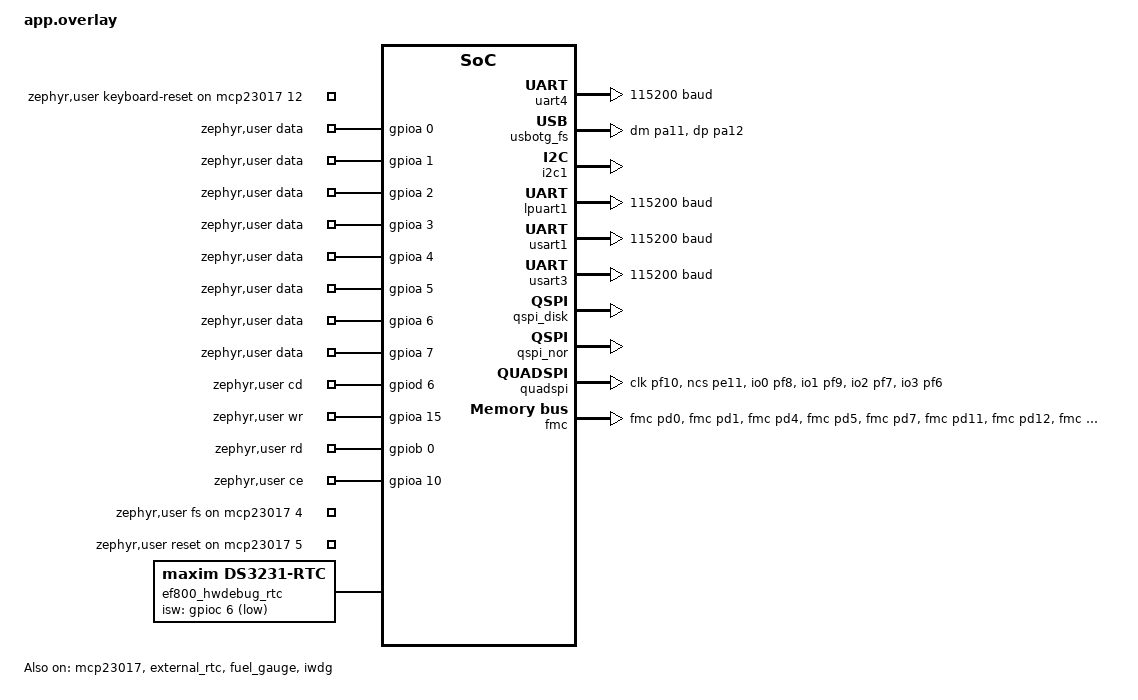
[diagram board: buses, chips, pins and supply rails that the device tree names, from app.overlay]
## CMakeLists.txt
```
# SPDX-License-Identifier: Apache-2.0
cmake_minimum_required(VERSION 3.20.0)

set(BOARD_ROOT ${CMAKE_CURRENT_LIST_DIR}/../..)
find_package(Zephyr REQUIRED HINTS $ENV{ZEPHYR_BASE})
project(ef800_hwdebug)

target_sources(app PRIVATE
	src/main.c
	src/test_result.c
	src/flash.c
	src/mcp23017.c
	src/rtc.c
	src/fuel_gauge.c
	src/peripheral_tests.c
	src/keyboard_update.c
	src/keyboard_i2c_debug.c
	src/sram_test.c
	src/sram_power.c
	${CMAKE_CURRENT_LIST_DIR}/../../shared/ef800_drivers/ef800_mcp23017.c
	${CMAKE_CURRENT_LIST_DIR}/../../shared/ef800_drivers/ef800_max17043.c
	${CMAKE_CURRENT_LIST_DIR}/../../shared/ef800_drivers/ef800_t6963.c
	${CMAKE_CURRENT_LIST_DIR}/../../shared/ef800_update/ef800_update.c
	${CMAKE_CURRENT_LIST_DIR}/../../shared/ef800_composition/ef800_composition.c
	${CMAKE_CURRENT_LIST_DIR}/../../shared/ef800_persistence/ef800_persistence.c
	${ZEPHYR_HAL_STM32_MODULE_DIR}/stm32cube/stm32l4xx/drivers/src/stm32l4xx_hal_gpio.c
	${ZEPHYR_HAL_STM32_MODULE_DIR}/stm32cube/stm32l4xx/drivers/src/stm32l4xx_hal_i2c.c
	${ZEPHYR_HAL_STM32_MODULE_DIR}/stm32cube/stm32l4xx/drivers/src/stm32l4xx_hal_i2c_ex.c
	${ZEPHYR_HAL_STM32_MODULE_DIR}/stm32cube/stm32l4xx/drivers/src/stm32l4xx_hal_uart.c
	${ZEPHYR_HAL_STM32_MODULE_DIR}/stm32cube/stm32l4xx/drivers/src/stm32l4xx_hal_uart_ex.c
)

target_include_directories(app PRIVATE
	${CMAKE_CURRENT_LIST_DIR}/../../shared/ef800_drivers
	${CMAKE_CURRENT_LIST_DIR}/../../shared/keyboard_protocol
	${CMAKE_CURRENT_LIST_DIR}/../../shared/ef800_keyboard_boot
	${CMAKE_CURRENT_LIST_DIR}/../../shared/ef800_update
	${CMAKE_CURRENT_LIST_DIR}/../../shared/ef800_composition
	${CMAKE_CURRENT_LIST_DIR}/../../shared/ef800_persistence
)
```

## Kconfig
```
# SPDX-License-Identifier: Apache-2.0

menu "EF800 hardware debug"

config EF800_HWDEBUG_QSPI_HAL
	bool "Use the STM32 QSPI HAL for direct probing"
	default y
	select USE_STM32_HAL_DMA
	select USE_STM32_HAL_QSPI
	help
	  Link the STM32 QSPI HAL for the direct read-only hardware probe without
	  enabling the generic Zephyr external-flash driver.

endmenu

config EF800_MAIN_LCD_STATUS_TIMEOUT_US
	int "T6963 status polling timeout (us)"
	default 1000
	range 100 100000
	help
		Bounded status polling timeout used by the shared T6963 driver.

config EF800_USB_VID
	hex "Hardware-debug USB vendor ID"
	default 0x2fe3

config EF800_USB_PID
	hex "Hardware-debug USB product ID"
	default 0xef82

source "Kconfig.zephyr"
```

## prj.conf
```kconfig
# SPDX-License-Identifier: Apache-2.0

# The image replaces the normal internal flash image during bench testing.
CONFIG_USE_DT_CODE_PARTITION=y
CONFIG_MAIN_STACK_SIZE=4096
CONFIG_EF800_HWDEBUG_QSPI_HAL=y

CONFIG_GPIO=y
CONFIG_HWINFO=y
CONFIG_SERIAL=y
CONFIG_CLOCK_CONTROL=y
CONFIG_PINCTRL=y
CONFIG_MEMC=y
CONFIG_I2C=y
CONFIG_GPIO_MCP230XX=y
CONFIG_MFD=y
CONFIG_RTC=y
CONFIG_RTC_DS3231=y
CONFIG_FUEL_GAUGE=y
CONFIG_MAX17048=y
# The minimal new-PCB image has no watchdog or auxiliary peripherals.
CONFIG_WATCHDOG=y

# USB CDC-ACM is the only console transport in this temporary image. The
# application owns a small line-oriented command parser instead of pulling in
# the full Zephyr shell.
CONFIG_UART_INTERRUPT_DRIVEN=y
CONFIG_UART_USE_RUNTIME_CONFIGURE=y
CONFIG_UART_LINE_CTRL=y

# Keep driver diagnostics enabled while the target is being brought up. These
# messages are useful when the flash-disk write path is exercised through MSC.
CONFIG_LOG=n

# Storage ownership test: the test formats the QSPI volume only after an
# explicit console confirmation, then switches ownership between FAT and MSC.
CONFIG_DISK_DRIVERS=y
CONFIG_DISK_DRIVER_FLASH=y
CONFIG_FILE_SYSTEM=y
CONFIG_FILE_SYSTEM_MKFS=y
CONFIG_FAT_FILESYSTEM_ELM=y
CONFIG_FS_FATFS_MOUNT_MKFS=y
CONFIG_FS_FATFS_LFN=y
CONFIG_FS_FATFS_LFN_MODE_STACK=y
CONFIG_USB_DEVICE_STACK_NEXT=y
CONFIG_USBD_MSC_CLASS=y
CONFIG_USBD_CDC_ACM_CLASS=y
CONFIG_CDC_ACM_SERIAL_INITIALIZE_AT_BOOT=n
CONFIG_USBD_MSC_LUNS_PER_INSTANCE=1
CONFIG_USBD_MSC_SCSI_BUFFER_SIZE=512
CONFIG_EF800_USB_VID=0x2fe3
CONFIG_EF800_USB_PID=0x0008
```

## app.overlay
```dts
/* SPDX-License-Identifier: Apache-2.0 */

/ {
	chosen {
		zephyr,code-partition = &hwdebug_partition;
		zephyr,console = &uart4;
		zephyr,shell-uart = &uart4;
	};
};

/* UART4 is the standalone bring-up console: PC10=TX, PC11=RX, 115200 8N1. */
&uart4 {
	current-speed = <115200>;
	status = "okay";
};

/* UART4, Bank 1 IS25, MCP23017, DS3231, and MAX17048 are fitted for bring-up. */
&usbotg_fs {
	status = "okay";
};

&i2c1 {
	status = "okay";
};

&mcp23017 {
	status = "okay";
};

&external_rtc {
	compatible = "maxim,ds3231-mfd";
	status = "okay";

	ef800_hwdebug_rtc: rtc {
		compatible = "maxim,ds3231-rtc";
		isw-gpios = <&gpioc 6 GPIO_ACTIVE_LOW>;
		status = "okay";
	};
};

&fuel_gauge {
	status = "okay";
};

&lpuart1 {
	current-speed = <115200>;
	status = "okay";
};

&usart1 {
	current-speed = <115200>;
	status = "okay";
};

&uart4 {
	current-speed = <115200>;
	status = "okay";
};

&usart3 {
	current-speed = <115200>;
	status = "okay";
};

&iwdg {
	status = "okay";
};


/* The storage test owns the QSPI disk and switches it between FAT and MSC. */
&qspi_disk {
	status = "okay";
};

/* The storage test uses the generic NOR driver through the flash-disk API. */
&qspi_nor {
	status = "okay";
	size = <DT_SIZE_M(32)>; /* IS25LP032D: 32 Mbit = 4 MiB */
	qspi-max-frequency = <8000000>;
	cs-high-time = <2>;
	reset-cmd;
	reset-cmd-wait = <10>;
	spi-bus-width = <4>;
	writeoc = "PP_1_1_4";
};

&quadspi {
	ssht-enable;
};

&usbotg_fs {
	pinctrl-0 = <&usb_otg_fs_dm_pa11 &usb_otg_fs_dp_pa12>;
	pinctrl-names = "default";
	status = "okay";

	cdc_acm_uart0: cdc_acm_uart0 {
		compatible = "zephyr,cdc-acm-uart";
		label = "EF800 USB CDC ACM";
	};
};

/* The debug image owns the parallel T6963 during display bring-up. */
/ {
	zephyr,user {
		keyboard-reset-gpios = <&mcp23017 12 0>;
		data-gpios = <&gpioa 0 0>, <&gpioa 1 0>, <&gpioa 2 0>,
				     <&gpioa 3 0>, <&gpioa 4 0>, <&gpioa 5 0>,
				     <&gpioa 6 0>, <&gpioa 7 0>;
		cd-gpios = <&gpiod 6 0>;
		wr-gpios = <&gpioa 15 0>;
		rd-gpios = <&gpiob 0 0>;
		ce-gpios = <&gpioa 10 0>;
		fs-gpios = <&mcp23017 4 0>;
		reset-gpios = <&mcp23017 5 0>;
		pixels-horizontal = <240>;
		pixels-vertical = <64>;
		font-width = <6>;
		memory-kb = <8>;
	};
};

#include <zephyr/dt-bindings/pinctrl/stm32-pinctrl.h>
#include <zephyr/dt-bindings/memory-controller/stm32-fmc-nor-psram.h>
#include <zephyr/dt-bindings/clock/stm32_clock.h>

&pinctrl {
	/* Each FMC pad is separate because STM32 pinctrl accepts one pinmux per node. */
	fmc_pd0: fmc_pd0 { pinmux = <STM32_PINMUX('D', 0, AF12)>; slew-rate = "very-high-speed"; };
	fmc_pd1: fmc_pd1 { pinmux = <STM32_PINMUX('D', 1, AF12)>; slew-rate = "very-high-speed"; };
	fmc_pd4: fmc_pd4 { pinmux = <STM32_PINMUX('D', 4, AF12)>; slew-rate = "very-high-speed"; };
	fmc_pd5: fmc_pd5 { pinmux = <STM32_PINMUX('D', 5, AF12)>; slew-rate = "very-high-speed"; };
	fmc_pd7: fmc_pd7 { pinmux = <STM32_PINMUX('D', 7, AF12)>; slew-rate = "very-high-speed"; };
	fmc_pd11: fmc_pd11 { pinmux = <STM32_PINMUX('D', 11, AF12)>; slew-rate = "very-high-speed"; };
	fmc_pd12: fmc_pd12 { pinmux = <STM32_PINMUX('D', 12, AF12)>; slew-rate = "very-high-speed"; };
	fmc_pd13: fmc_pd13 { pinmux = <STM32_PINMUX('D', 13, AF12)>; slew-rate = "very-high-speed"; };
	fmc_pd14: fmc_pd14 { pinmux = <STM32_PINMUX('D', 14, AF12)>; slew-rate = "very-high-speed"; };
	fmc_pd15: fmc_pd15 { pinmux = <STM32_PINMUX('D', 15, AF12)>; slew-rate = "very-high-speed"; };
	fmc_pf0: fmc_pf0 { pinmux = <STM32_PINMUX('F', 0, AF12)>; slew-rate = "very-high-speed"; };
	fmc_pf1: fmc_pf1 { pinmux = <STM32_PINMUX('F', 1, AF12)>; slew-rate = "very-high-speed"; };
	fmc_pf2: fmc_pf2 { pinmux = <STM32_PINMUX('F', 2, AF12)>; slew-rate = "very-high-speed"; };
	fmc_pf3: fmc_pf3 { pinmux = <STM32_PINMUX('F', 3, AF12)>; slew-rate = "very-high-speed"; };
	fmc_pf4: fmc_pf4 { pinmux = <STM32_PINMUX('F', 4, AF12)>; slew-rate = "very-high-speed"; };
	fmc_pf5: fmc_pf5 { pinmux = <STM32_PINMUX('F', 5, AF12)>; slew-rate = "very-high-speed"; };
	fmc_pf12: fmc_pf12 { pinmux = <STM32_PINMUX('F', 12, AF12)>; slew-rate = "very-high-speed"; };
	fmc_pf13: fmc_pf13 { pinmux = <STM32_PINMUX('F', 13, AF12)>; slew-rate = "very-high-speed"; };
	fmc_pf14: fmc_pf14 { pinmux = <STM32_PINMUX('F', 14, AF12)>; slew-rate = "very-high-speed"; };
	fmc_pf15: fmc_pf15 { pinmux = <STM32_PINMUX('F', 15, AF12)>; slew-rate = "very-high-speed"; };
	fmc_pg0: fmc_pg0 { pinmux = <STM32_PINMUX('G', 0, AF12)>; slew-rate = "very-high-speed"; };
	fmc_pg1: fmc_pg1 { pinmux = <STM32_PINMUX('G', 1, AF12)>; slew-rate = "very-high-speed"; };
	fmc_pg2: fmc_pg2 { pinmux = <STM32_PINMUX('G', 2, AF12)>; slew-rate = "very-high-speed"; };
	fmc_pg3: fmc_pg3 { pinmux = <STM32_PINMUX('G', 3, AF12)>; slew-rate = "very-high-speed"; };
	fmc_pg4: fmc_pg4 { pinmux = <STM32_PINMUX('G', 4, AF12)>; slew-rate = "very-high-speed"; };
	fmc_pg5: fmc_pg5 { pinmux = <STM32_PINMUX('G', 5, AF12)>; slew-rate = "very-high-speed"; };
	fmc_pe0: fmc_pe0 { pinmux = <STM32_PINMUX('E', 0, AF12)>; slew-rate = "very-high-speed"; };
	fmc_pe7: fmc_pe7 { pinmux = <STM32_PINMUX('E', 7, AF12)>; slew-rate = "very-high-speed"; };
	fmc_pe8: fmc_pe8 { pinmux = <STM32_PINMUX('E', 8, AF12)>; slew-rate = "very-high-speed"; };
	fmc_pe9: fmc_pe9 { pinmux = <STM32_PINMUX('E', 9, AF12)>; slew-rate = "very-high-speed"; };
	fmc_pe10: fmc_pe10 { pinmux = <STM32_PINMUX('E', 10, AF12)>; };

	usart1_tx_pb6: usart1_tx_pb6 {
		pinmux = <STM32_PINMUX('B', 6, AF7)>;
		bias-pull-up;
		drive-push-pull;
	};

	usart1_rx_pb7: usart1_rx_pb7 {
		pinmux = <STM32_PINMUX('B', 7, AF7)>;
		bias-pull-up;
	};

	usart3_tx_pd8: usart3_tx_pd8 {
		pinmux = <STM32_PINMUX('D', 8, AF7)>;
		bias-pull-up;
		drive-push-pull;
	};

	usart3_rx_pd9: usart3_rx_pd9 {
		pinmux = <STM32_PINMUX('D', 9, AF7)>;
		bias-pull-up;
	};

	lpuart1_tx_pg7: lpuart1_tx_pg7 {
		pinmux = <STM32_PINMUX('G', 7, AF8)>;
		bias-pull-up;
		drive-push-pull;
	};

	lpuart1_rx_pc0: lpuart1_rx_pc0 {
		pinmux = <STM32_PINMUX('C', 0, AF8)>;
		bias-pull-up;
	};

	usb_otg_fs_dm_pa11: usb_otg_fs_dm_pa11 {
		pinmux = <STM32_PINMUX('A', 11, AF10)>;
	};

	usb_otg_fs_dp_pa12: usb_otg_fs_dp_pa12 {
		pinmux = <STM32_PINMUX('A', 12, AF10)>;
	};


	quadspi_clk_pf10: quadspi_clk_pf10 {
		pinmux = <STM32_PINMUX('F', 10, AF3)>;
	};

	quadspi_bk1_ncs_pe11: quadspi_bk1_ncs_pe11 {
		pinmux = <STM32_PINMUX('E', 11, AF10)>;
		bias-pull-up;
	};

	quadspi_bk1_io0_pf8: quadspi_bk1_io0_pf8 {
		pinmux = <STM32_PINMUX('F', 8, AF10)>;
	};

	quadspi_bk1_io1_pf9: quadspi_bk1_io1_pf9 {
		pinmux = <STM32_PINMUX('F', 9, AF10)>;
	};

	quadspi_bk1_io2_pf7: quadspi_bk1_io2_pf7 {
		pinmux = <STM32_PINMUX('F', 7, AF10)>;
		bias-pull-up;
	};

	quadspi_bk1_io3_pf6: quadspi_bk1_io3_pf6 {
		pinmux = <STM32_PINMUX('F', 6, AF10)>;
		bias-pull-up;
	};

};

&fmc {
	pinctrl-0 = <&fmc_pd0 &fmc_pd1 &fmc_pd4 &fmc_pd5 &fmc_pd7
		&fmc_pd11 &fmc_pd12 &fmc_pd13 &fmc_pd14 &fmc_pd15
		&fmc_pf0 &fmc_pf1 &fmc_pf2 &fmc_pf3 &fmc_pf4 &fmc_pf5
		&fmc_pf12 &fmc_pf13 &fmc_pf14 &fmc_pf15
		&fmc_pg0 &fmc_pg1 &fmc_pg2 &fmc_pg3 &fmc_pg4 &fmc_pg5
		&fmc_pe0 &fmc_pe7 &fmc_pe8 &fmc_pe9 &fmc_pe10>;
	pinctrl-names = "default";
	status = "okay";
};

&fmc_sram {
	status = "okay";
};

/* Distinct linker-visible region; not selected as Zephyr's internal SRAM. */
&external_sram {
	status = "okay";
};

&sram_bank1 {
	st,control = <STM32_FMC_DATA_ADDRESS_MUX_DISABLE
		STM32_FMC_MEMORY_TYPE_SRAM
		STM32_FMC_NORSRAM_MEM_BUS_WIDTH_8
		STM32_FMC_BURST_ACCESS_MODE_DISABLE
		STM32_FMC_WAIT_SIGNAL_POLARITY_LOW
		STM32_FMC_WAIT_TIMING_BEFORE_WS
		STM32_FMC_WRITE_OPERATION_ENABLE
		STM32_FMC_WAIT_SIGNAL_DISABLE
		STM32_FMC_EXTENDED_MODE_DISABLE
		STM32_FMC_ASYNCHRONOUS_WAIT_DISABLE
		STM32_FMC_WRITE_BURST_DISABLE
		STM32_FMC_CONTINUOUS_CLOCK_SYNC_ONLY
		STM32_FMC_WRITE_FIFO_ENABLE
		STM32_FMC_PAGE_SIZE_NONE>;
	/* Normal EF800 HCLK=80 MHz; 12.5 ns setup, >=25 ns data/write phase. */
	st,timing = <1 1 2 0 2 0 STM32_FMC_ACCESS_MODE_A>;
	status = "okay";
};

&quadspi {
	pinctrl-0 = <&quadspi_clk_pf10 &quadspi_bk1_ncs_pe11
			 &quadspi_bk1_io0_pf8 &quadspi_bk1_io1_pf9
				 &quadspi_bk1_io2_pf7 &quadspi_bk1_io3_pf6>;
	pinctrl-names = "default";
	status = "okay";
};

/* This temporary image owns internal flash while it is being debugged. */
&flash0 {
	partitions {
		/delete-node/ partition@0;
		/delete-node/ partition@10000;
		/delete-node/ partition@20000;
		/delete-node/ partition@30000;

		hwdebug_partition: partition@0 {
			label = "hwdebug";
			reg = <0x00000000 0x00100000>;
		};
	};
};
```

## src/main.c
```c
/* SPDX-License-Identifier: Apache-2.0 */
/** @file @brief Register hardware bring-up commands and diagnostics. */

#include <stdbool.h>
#include <errno.h>
#include <stdint.h>
#include <stdlib.h>
#include <string.h>

#include <zephyr/device.h>
#include <zephyr/kernel.h>
#include <zephyr/drivers/uart.h>
#include <zephyr/sys/util.h>
#include <zephyr/drivers/hwinfo.h>

#include "flash.h"
#include "mcp23017.h"
#include "rtc.h"
#include "fuel_gauge.h"
#include "peripheral_tests.h"
#include "keyboard_i2c_debug.h"
#include "sram_test.h"

#define CONSOLE_LINE_SIZE 128U
#define CONSOLE_RX_QUEUE_SIZE 128U

static const struct device *const console_uart =
	DEVICE_DT_GET(DT_CHOSEN(zephyr_console));
static char console_line[CONSOLE_LINE_SIZE];
static size_t console_line_length;
K_MSGQ_DEFINE(console_rx_queue, sizeof(uint8_t), CONSOLE_RX_QUEUE_SIZE, 1);

const struct device *hwdebug_console_device(void)
{
	return console_uart;
}

static void print_help(void)
{
	hwdebug_console_puts("commands:\r\n"
		"\r\n"
		"hardware tests:\r\n"
		"  hardware test flash|mcp23017|rtc|fuel-gauge|keyboard|display|all\r\n"
		"  keyboard test|interactive\r\n"
		"  keyboard baud-test\r\n"
		"  keyboard version\r\n"
		"  keyboard version-raw\r\n"
		"  keyboard id-raw\r\n"
		"  keyboard i2c-status\r\n"
		"  keyboard i2c-rom-test (no flash erase/write)\r\n"
		"  keyboard update /DATA:/fwu/EF800_KEYBOARD.pkg\r\n"
		"  keyboard receive\r\n"
		"  keyboard bootloader probe\r\n"
		"  display test|interactive|status|wr-test [count]\r\n"
		"  uart test port1|port2\r\n"
		"  uart fts3-test uart1|uart3 (9600 8N1)\r\n"
		"  uart elta3-test uart1|uart3 (1200 7O2)\r\n"
		"  lpuart test\r\n"
		"  lpuart host-test\r\n"
		"  lpuart bitbang-test\r\n"
		"  storage test\r\n"
		"  storage format-layout\r\n"
		"  storage format-volumes\r\n"
		"  watchdog test\r\n"
		"  sram test\r\n"
		"  usb cdc test\r\n"
		"  next (storage step)\r\n"
		"  pass|fail|cancel|exit (pending interactive test)\r\n"
		"\r\n"
		"flash / QUADSPI:\r\n"
		"  flash info\r\n"
		"  flash probe\r\n"
		"  flash recover\r\n"
		"  flash jedec\r\n"
		"  flash sfdp [offset] [length]\r\n"
		"  flash read <offset> <length>\r\n"
		"  flash bitbang-read <offset> <length>\r\n"
		"  flash api-read <offset> <length>\r\n"
		"  flash program-test confirm (tests 0x8000, erases sector afterward)\r\n"
		"  flash test spi|qspi-1line|qspi-4line|qpi|all\r\n"
		"  qspi bitbang spi|qpi\r\n"
		"\r\n"
		"MCP23017:\r\n"
		"  mcp23017 test\r\n"
		"  mcp23017 raw\r\n"
		"  mcp23017 stm32-hal\r\n"
		"  mcp23017 shared-driver\r\n"
		"\r\n"
		"RTC / fuel gauge:\r\n"
		"  rtc test\r\n"
		"  fuel-gauge test\r\n");
}

static int parse_u32(const char *text, uint32_t *value)
{
	char *end;
	unsigned long parsed;

	if (text == NULL || value == NULL || text[0] == '\0' || text[0] == '-') {
		return -EINVAL;
	}
	parsed = strtoul(text, &end, 0);
	if (end == text || *end != '\0' || parsed > UINT32_MAX) {
		return -EINVAL;
	}
	*value = (uint32_t)parsed;
	return 0;
}

static void handle_command(char *line)
{
	char *command = strtok(line, " \t");
	char *subcommand;
	char *argument;
	char *extra;
	uint32_t offset;
	uint32_t length;

	if (command == NULL) return;
	if (hwdebug_interactive_pending() &&
	    (strcmp(command, "pass") == 0 || strcmp(command, "fail") == 0 ||
	     strcmp(command, "cancel") == 0 || strcmp(command, "exit") == 0 ||
	     strcmp(command, "next") == 0 ||
	     strcmp(command, "format-confirm") == 0) &&
	    strtok(NULL, " \t") == NULL) {
		hwdebug_interactive_reply(command);
		return;
	}
	if (strcmp(command, "keyboard") == 0) {
		subcommand = strtok(NULL, " \t");
		argument = strtok(NULL, " \t");
		if (subcommand != NULL && strcmp(subcommand, "test") == 0 &&
		    argument == NULL && strtok(NULL, " \t") == NULL) {
			hwdebug_keyboard_test("keyboard");
		} else if (subcommand != NULL && strcmp(subcommand, "baud-test") == 0 &&
			   argument == NULL && strtok(NULL, " \t") == NULL) {
			hwdebug_keyboard_baud_test();
		} else if (subcommand != NULL && strcmp(subcommand, "version") == 0 &&
			   argument == NULL && strtok(NULL, " \t") == NULL) {
			hwdebug_keyboard_version();
		} else if (subcommand != NULL && strcmp(subcommand, "version-raw") == 0 &&
			   argument == NULL && strtok(NULL, " \t") == NULL) {
			hwdebug_keyboard_version_raw();
		} else if (subcommand != NULL && strcmp(subcommand, "id-raw") == 0 &&
			   argument == NULL && strtok(NULL, " \t") == NULL) {
			hwdebug_keyboard_id_raw();
		} else if (subcommand != NULL && strcmp(subcommand, "i2c-status") == 0 &&
			   argument == NULL && strtok(NULL, " \t") == NULL) {
			hwdebug_keyboard_i2c_status();
		} else if (subcommand != NULL && strcmp(subcommand, "i2c-rom-test") == 0 &&
			   argument == NULL && strtok(NULL, " \t") == NULL) {
			hwdebug_keyboard_i2c_rom_test();
		} else if (subcommand != NULL && strcmp(subcommand, "interactive") == 0 &&
			   argument == NULL && strtok(NULL, " \t") == NULL) {
			hwdebug_keyboard_interactive();
		} else if (subcommand != NULL && strcmp(subcommand, "update") == 0 &&
			   argument != NULL && strtok(NULL, " \t") == NULL) {
			hwdebug_keyboard_update(argument);
		} else if (subcommand != NULL && strcmp(subcommand, "receive") == 0 &&
			   argument == NULL && strtok(NULL, " \t") == NULL) {
			hwdebug_keyboard_receive();
		} else if (subcommand != NULL && strcmp(subcommand, "bootloader") == 0 &&
			   argument != NULL && strcmp(argument, "probe") == 0 &&
			   strtok(NULL, " \t") == NULL) {
			hwdebug_keyboard_bootloader_probe();
		} else {
			hwdebug_console_puts("error: usage: keyboard test|interactive|update <path>\r\n");
		}
		return;
	}
	if (strcmp(command, "display") == 0) {
		subcommand = strtok(NULL, " \t");
		argument = strtok(NULL, " \t");
		if (subcommand != NULL && strcmp(subcommand, "test") == 0 &&
		    argument == NULL && strtok(NULL, " \t") == NULL) {
			hwdebug_display_test();
		} else if (subcommand != NULL && strcmp(subcommand, "interactive") == 0 &&
			   argument == NULL && strtok(NULL, " \t") == NULL) {
			hwdebug_display_interactive();
		} else if (subcommand != NULL && strcmp(subcommand, "wr-test") == 0 &&
			   (argument == NULL || strtok(NULL, " \t") == NULL)) {
			uint32_t count = 20U;
			if (argument != NULL && parse_u32(argument, &count) != 0) {
				hwdebug_console_puts("error: usage: display wr-test [count]\r\n");
			} else {
				 hwdebug_display_wr_test(count);
			}
		} else if (subcommand != NULL && strcmp(subcommand, "status") == 0 &&
			   argument == NULL && strtok(NULL, " \t") == NULL) {
			hwdebug_display_status();
		} else {
			hwdebug_console_puts("error: usage: display test|interactive|status|wr-test [count]\r\n");
		}
		return;
	}
	if (strcmp(command, "uart") == 0) {
		subcommand = strtok(NULL, " \t");
		argument = strtok(NULL, " \t");
		if (subcommand != NULL &&
		    (strcmp(subcommand, "fts3-test") == 0 || strcmp(subcommand, "elta3-test") == 0) &&
		    argument != NULL && strtok(NULL, " \t") == NULL &&
		    (strcmp(argument, "uart1") == 0 || strcmp(argument, "uart3") == 0)) {
			hwdebug_instrument_uart_test(strcmp(subcommand, "fts3-test") == 0 ?
				"fts3xx" : "elta3", argument);
		} else if (subcommand != NULL && strcmp(subcommand, "test") == 0 &&
		    argument != NULL && strtok(NULL, " \t") == NULL &&
		    (strcmp(argument, "port1") == 0 || strcmp(argument, "port2") == 0)) {
			hwdebug_uart_test(argument);
		} else {
			hwdebug_console_puts("error: usage: uart test port1|port2\r\n");
		}
		return;
	}
	if (strcmp(command, "lpuart") == 0) {
		subcommand = strtok(NULL, " \t");
		if (subcommand != NULL && strcmp(subcommand, "test") == 0 &&
		    strtok(NULL, " \t") == NULL) {
			hwdebug_lpuart_test();
		} else if (subcommand != NULL && strcmp(subcommand, "host-test") == 0 &&
			   strtok(NULL, " \t") == NULL) {
			hwdebug_lpuart_host_test();
		} else if (subcommand != NULL && strcmp(subcommand, "bitbang-test") == 0 &&
			   strtok(NULL, " \t") == NULL) {
			hwdebug_lpuart_bitbang_test();
		} else {
			hwdebug_console_puts("error: usage: lpuart test|host-test\r\n");
		}
		return;
	}
	if (strcmp(command, "storage") == 0) {
		subcommand = strtok(NULL, " \t");
		if (subcommand != NULL && strcmp(subcommand, "test") == 0 &&
		    strtok(NULL, " \t") == NULL) {
			hwdebug_storage_test();
		} else if (subcommand != NULL && strcmp(subcommand, "format-layout") == 0 &&
			   strtok(NULL, " \t") == NULL) {
			hwdebug_storage_format_layout();
		} else if (subcommand != NULL && strcmp(subcommand, "format-volumes") == 0 &&
			   strtok(NULL, " \t") == NULL) {
			hwdebug_storage_format_volumes();
		} else {
			hwdebug_console_puts("error: usage: storage test|format-layout|format-volumes\r\n");
		}
		return;
	}
	if (strcmp(command, "watchdog") == 0) {
		subcommand = strtok(NULL, " \t");
		if (subcommand != NULL && strcmp(subcommand, "test") == 0 &&
			strtok(NULL, " \t") == NULL) {
			hwdebug_flash_watchdog_test();
		} else {
			hwdebug_console_puts("error: usage: watchdog test\r\n");
		}
		return;
	}
	if (strcmp(command, "usb") == 0) {
		subcommand = strtok(NULL, " \t");
		argument = strtok(NULL, " \t");
		if (subcommand != NULL && argument != NULL &&
		    strcmp(subcommand, "cdc") == 0 && strcmp(argument, "test") == 0 &&
		    strtok(NULL, " \t") == NULL) {
			hwdebug_usb_cdc_test();
		} else {
			hwdebug_console_puts("error: usage: usb cdc test\r\n");
		}
		return;
	}
	if (strcmp(command, "help") == 0) { print_help(); return; }
	if (strcmp(command, "sram") == 0) {
		subcommand = strtok(NULL, " \t");
		if (subcommand != NULL && strcmp(subcommand, "test") == 0 &&
		    strtok(NULL, " \t") == NULL) {
			hwdebug_sram_test();
		} else {
			hwdebug_console_puts("error: usage: sram test\r\n");
		}
		return;
	}
	if (strcmp(command, "hardware") == 0) {
		subcommand = strtok(NULL, " \t");
		argument = strtok(NULL, " \t");
		if (subcommand != NULL && strcmp(subcommand, "test") == 0 && argument != NULL &&
			strtok(NULL, " \t") == NULL) {
			if (strcmp(argument, "flash") == 0 || strcmp(argument, "all") == 0)
				hwdebug_flash_test_group("all");
			if (strcmp(argument, "mcp23017") == 0 || strcmp(argument, "all") == 0)
				hwdebug_mcp23017_test();
			if (strcmp(argument, "rtc") == 0 || strcmp(argument, "all") == 0)
				hwdebug_rtc_test();
			if (strcmp(argument, "fuel-gauge") == 0 || strcmp(argument, "all") == 0)
				hwdebug_fuel_gauge_test();
			if (strcmp(argument, "keyboard") == 0 || strcmp(argument, "all") == 0)
				hwdebug_keyboard_test("keyboard");
			if (strcmp(argument, "display") == 0 || strcmp(argument, "all") == 0)
				hwdebug_display_test();
			return;
		}
		hwdebug_console_puts("error: usage: hardware test flash|mcp23017|rtc|fuel-gauge|keyboard|display|all\r\n");
		return;
	}
	if (strcmp(command, "rtc") == 0 || strcmp(command, "fuel-gauge") == 0) {
		subcommand = strtok(NULL, " \t");
		if (subcommand != NULL && strcmp(subcommand, "test") == 0 &&
			strtok(NULL, " \t") == NULL) {
			if (strcmp(command, "rtc") == 0) hwdebug_rtc_test();
			else hwdebug_fuel_gauge_test();
		} else {
			hwdebug_console_printf("error: usage: %s test\r\n", command);
		}
		return;
	}
	if (strcmp(command, "mcp23017") == 0) {
		subcommand = strtok(NULL, " \t");
		if (subcommand != NULL && strtok(NULL, " \t") == NULL) {
			if (strcmp(subcommand, "test") == 0) {
				hwdebug_mcp23017_test();
			} else if (strcmp(subcommand, "raw") == 0) {
				hwdebug_mcp23017_raw_test();
			} else if (strcmp(subcommand, "stm32-hal") == 0) {
				hwdebug_mcp23017_hal_test();
			} else if (strcmp(subcommand, "shared-driver") == 0) {
				hwdebug_mcp23017_driver_test();
			} else {
				hwdebug_console_puts("error: unknown MCP23017 test; use help\r\n");
			}
		} else {
			hwdebug_console_puts("error: usage: mcp23017 test\r\n");
		}
		return;
	}
	if (strcmp(command, "flash") != 0 && strcmp(command, "qspi") != 0) {
		hwdebug_console_puts("error: unknown command; use help\r\n"); return;
	}
	subcommand = strtok(NULL, " \t");
	if (subcommand == NULL) { print_help(); return; }
	if (strcmp(command, "qspi") == 0 && strcmp(subcommand, "bitbang") == 0) {
		argument = strtok(NULL, " \t");
		if (argument == NULL || strtok(NULL, " \t") != NULL)
			hwdebug_console_puts("error: usage: qspi bitbang spi|qpi\r\n");
		else hwdebug_flash_bitbang(argument);
		return;
	}
	if (strcmp(subcommand, "info") == 0 && strtok(NULL, " \t") == NULL) {
		hwdebug_flash_info(); return;
	}
	if ((strcmp(subcommand, "probe") == 0 || strcmp(subcommand, "recover") == 0 ||
		strcmp(subcommand, "jedec") == 0) && strtok(NULL, " \t") == NULL) {
		if (strcmp(subcommand, "probe") == 0) hwdebug_flash_probe();
		else if (strcmp(subcommand, "recover") == 0) (void)hwdebug_flash_recover(true);
		else hwdebug_flash_jedec();
		return;
	}
	if (strcmp(subcommand, "test") == 0) {
		argument = strtok(NULL, " \t");
		if (argument != NULL && strtok(NULL, " \t") == NULL) {
			if (strcmp(argument, "qspi") == 0) { hwdebug_flash_test_group("qspi-1line"); hwdebug_flash_test_group("qspi-4line"); }
			else hwdebug_flash_test_group(argument);
			return;
		}
		hwdebug_console_puts("error: usage: flash test spi|qspi-1line|qspi-4line|qpi|all\r\n"); return;
	}
	if (strcmp(subcommand, "sfdp") == 0) {
		argument = strtok(NULL, " \t"); extra = strtok(NULL, " \t");
		if (argument == NULL) { offset = 0U; length = 64U; }
		else if (parse_u32(argument, &offset) != 0 || (extra != NULL && parse_u32(extra, &length) != 0) || strtok(NULL, " \t") != NULL) {
			hwdebug_console_puts("error: usage: flash sfdp [offset] [length]\r\n"); return;
		} else length = extra == NULL ? 64U : length;
		hwdebug_flash_sfdp(offset, length); return;
	}
	if (strcmp(subcommand, "read") == 0) {
		argument = strtok(NULL, " \t"); extra = strtok(NULL, " \t");
		if (argument == NULL || extra == NULL || strtok(NULL, " \t") != NULL || parse_u32(argument, &offset) != 0 || parse_u32(extra, &length) != 0)
			hwdebug_console_puts("error: usage: flash read <offset> <length>\r\n");
		else hwdebug_flash_read(offset, length);
		return;
	}
	if (strcmp(subcommand, "bitbang-read") == 0) {
		argument = strtok(NULL, " \t"); extra = strtok(NULL, " \t");
		if (argument == NULL || extra == NULL || strtok(NULL, " \t") != NULL ||
		    parse_u32(argument, &offset) != 0 || parse_u32(extra, &length) != 0) {
			hwdebug_console_puts("error: usage: flash bitbang-read <offset> <length>\r\n");
		} else {
			hwdebug_flash_bitbang_read(offset, length);
		}
		return;
	}
	if (strcmp(subcommand, "api-read") == 0) {
		argument = strtok(NULL, " \t"); extra = strtok(NULL, " \t");
		if (argument == NULL || extra == NULL || strtok(NULL, " \t") != NULL ||
		    parse_u32(argument, &offset) != 0 ||
		    parse_u32(extra, &length) != 0) {
			hwdebug_console_puts("error: usage: flash api-read <offset> <length>\r\n");
		} else {
			hwdebug_flash_api_read(offset, length);
		}
		return;
	}
	if (strcmp(subcommand, "program-test") == 0) {
		argument = strtok(NULL, " \t");
		if (argument == NULL || strcmp(argument, "confirm") != 0 ||
		    strtok(NULL, " \t") != NULL) {
			hwdebug_console_puts("warning: program-test erases only QSPI sector 0x8000\r\n"
				"usage: flash program-test confirm\r\n");
		} else {
			hwdebug_flash_program_test();
		}
		return;
	}
	hwdebug_console_puts("error: unknown flash command; use help\r\n");
}

static void console_rx_callback(const struct device *device, void *user_data)
{
	uint8_t data[16]; int count;
	ARG_UNUSED(user_data);
	while (uart_irq_update(device) && uart_irq_is_pending(device)) {
		if (!uart_irq_rx_ready(device)) continue;
		count = uart_fifo_read(device, data, sizeof(data));
		for (int index = 0; index < count; ++index) (void)k_msgq_put(&console_rx_queue, &data[index], K_NO_WAIT);
	}
}

int main(void)
{
	uint8_t received;
	int watchdog_result = hwdebug_flash_watchdog_init();
	int keyboard_reset_result;
	uint32_t reset_cause = 0U;
	bool watchdog_reset = false;
	if (!device_is_ready(console_uart)) return 0;
	if (hwinfo_get_reset_cause(&reset_cause) == 0) {
		watchdog_reset = (reset_cause & RESET_WATCHDOG) != 0U;
		(void)hwinfo_clear_reset_cause();
	}
	keyboard_reset_result = hwdebug_keyboard_reset_release();
	uart_irq_callback_set(console_uart, console_rx_callback);
	uart_irq_rx_enable(console_uart);
	hwdebug_console_puts("boot: main\r\nboot: UART4 ready\r\nboot: clock source HSE 25 MHz -> PLL -> SYSCLK 80 MHz\r\nEF800 hardware debug\r\n");
	hwdebug_console_printf("boot: reason=%s (reset_cause=0x%08x)\r\n",
		watchdog_reset ? "watchdog" : "normal", reset_cause);
	hwdebug_console_printf("watchdog: %s (%d)\r\n", watchdog_result == 0 ? "feeding" : "unavailable", watchdog_result);
	hwdebug_console_printf("keyboard reset: released high (%d)\r\n", keyboard_reset_result);
	print_help(); hwdebug_console_puts("> ");
	while (true) {
		hwdebug_flash_watchdog_feed();
		if (k_msgq_get(&console_rx_queue, &received, K_MSEC(100)) != 0) continue;
		if (received == '\r' || received == '\n') {
			if (console_line_length != 0U) { console_line[console_line_length] = '\0'; handle_command(console_line); console_line_length = 0U; }
			hwdebug_console_puts("> ");
		} else if (received == '\b' || received == 0x7fU) {
			if (console_line_length != 0U) { --console_line_length; hwdebug_console_puts("\b \b"); }
		} else if (received >= 0x20U && received <= 0x7eU && console_line_length + 1U < sizeof(console_line)) {
			console_line[console_line_length++] = (char)received; uart_poll_out(console_uart, received);
		}
	}
}
```

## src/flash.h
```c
/* SPDX-License-Identifier: Apache-2.0 */
/** @file
 * @brief Hardware-debug console and QSPI flash diagnostics/recovery commands.
 */

#ifndef EF800_HWDEBUG_FLASH_H
#define EF800_HWDEBUG_FLASH_H

#include <stdbool.h>
#include <stddef.h>
#include <stdint.h>

struct device;

/** @brief Get the configured hardware-debug console device.
 * @return Console device, or NULL when no device is configured.
 */
const struct device *hwdebug_console_device(void);

/** @brief Write a NUL-terminated string to the debug console.
 * @param text Text to send; NULL is ignored.
 * @return None.
 */
void hwdebug_console_puts(const char *text);

/** @brief Format and write a message to the debug console.
 * @param format printf-style format string.
 * @param ... Values referenced by format.
 * @return None.
 */
void hwdebug_console_printf(const char *format, ...);

/** @brief Print a byte buffer as a hexadecimal dump.
 * @param offset Address/offset label for the first byte.
 * @param data Bytes to display.
 * @param length Number of bytes in data.
 * @return None.
 */
void hwdebug_console_hexdump(uint32_t offset, const uint8_t *data, size_t length);

/** @brief Initialize watchdog handling for long-running flash diagnostics.
 * @return 0 on success; negative errno if setup fails.
 */
int hwdebug_flash_watchdog_init(void);

/** @brief Feed the watchdog during a diagnostic operation.
 * @return None.
 */
void hwdebug_flash_watchdog_feed(void);

/** @brief Run the watchdog feed/reset diagnostic.
 * @return None.
 */
void hwdebug_flash_watchdog_test(void);

/** @brief Run the selected software-driven flash bus mode.
 * @param mode Requested bus mode string.
 * @return None.
 */
void hwdebug_flash_bitbang(const char *mode);

/** @brief Print detected flash geometry and identification.
 * @return None.
 */
void hwdebug_flash_info(void);

/** @brief Probe the flash device and report whether it responds.
 * @return None.
 */
void hwdebug_flash_probe(void);

/** @brief Read and print the flash JEDEC identification bytes.
 * @return None.
 */
void hwdebug_flash_jedec(void);

/** @brief Print a bounded SFDP data range.
 * @param offset SFDP byte offset.
 * @param length Number of bytes to inspect.
 * @return None.
 */
void hwdebug_flash_sfdp(uint32_t offset, uint32_t length);

/** @brief Read and display a range using the selected flash API.
 * @param offset Flash byte offset.
 * @param length Number of bytes to read.
 * @return None.
 */
void hwdebug_flash_read(uint32_t offset, uint32_t length);

/** @brief Read and display a range using software bit-banged access.
 * @param offset Flash byte offset.
 * @param length Number of bytes to read.
 * @return None.
 */
void hwdebug_flash_bitbang_read(uint32_t offset, uint32_t length);

/** @brief Read and display a range through the Zephyr flash API.
 * @param offset Flash byte offset.
 * @param length Number of bytes to read.
 * @return None.
 */
void hwdebug_flash_api_read(uint32_t offset, uint32_t length);

/** @brief Run the explicitly bounded flash program/erase diagnostic.
 * @return None.
 */
void hwdebug_flash_program_test(void);

/** @brief Recover the configured flash state and optionally print progress.
 * @param verbose True to report each recovery step.
 * @return 0 on recovery; negative errno if recovery fails.
 */
int hwdebug_flash_recover(bool verbose);

/** @brief Run one named flash diagnostic group.
 * @param name Group name selected by the caller.
 * @return None.
 */
void hwdebug_flash_test_group(const char *name);

/** @brief Run the complete flash diagnostic suite.
 * @return None.
 */
void hwdebug_flash_test_all(void);

#endif
```

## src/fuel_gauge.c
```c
/* SPDX-License-Identifier: Apache-2.0 */

#include "fuel_gauge.h"
#include "test_result.h"
#include "flash.h"

#include <errno.h>

#include <zephyr/devicetree.h>
#include <zephyr/drivers/i2c.h>

#include <zephyr/drivers/fuel_gauge.h>

#if DT_HAS_COMPAT_STATUS_OKAY(maxim_max17048)
static const struct i2c_dt_spec fuel_gauge_i2c =
	I2C_DT_SPEC_GET(DT_COMPAT_GET_ANY_STATUS_OKAY(maxim_max17048));
static const struct device *const fuel_gauge =
	DEVICE_DT_GET(DT_COMPAT_GET_ANY_STATUS_OKAY(maxim_max17048));
#endif

void hwdebug_fuel_gauge_test(void)
{
	hwdebug_test_begin("fuel-gauge/max17048");
#if DT_HAS_COMPAT_STATUS_OKAY(maxim_max17048)
	union fuel_gauge_prop_val voltage;
	union fuel_gauge_prop_val soc;
	int ret;

	if (!i2c_is_ready_dt(&fuel_gauge_i2c)) {
		hwdebug_test_fail("I2C controller is not ready", -ENODEV);
	} else if ((ret = i2c_configure(fuel_gauge_i2c.bus,
		I2C_SPEED_SET(I2C_SPEED_FAST))) != 0) {
		hwdebug_test_fail("Zephyr I2C configure failed", ret);
	} else if (!device_is_ready(fuel_gauge)) {
		hwdebug_test_fail("MAX17048 device is not ready", -ENODEV);
	} else if ((ret = fuel_gauge_get_prop(fuel_gauge, FUEL_GAUGE_VOLTAGE,
		&voltage)) != 0) {
		hwdebug_test_fail("MAX17048 voltage read failed", ret);
	} else if ((ret = fuel_gauge_get_prop(fuel_gauge,
		FUEL_GAUGE_RELATIVE_STATE_OF_CHARGE, &soc)) != 0) {
		hwdebug_test_fail("MAX17048 SOC read failed", ret);
	} else {
		hwdebug_console_printf("fuel-gauge: soc=%u%% voltage=%d uV\r\n",
			soc.relative_state_of_charge, voltage.voltage);
	}
#else
	hwdebug_test_fail("MAX17048 is missing from devicetree", -ENODEV);
#endif
	hwdebug_test_pass();
}
```

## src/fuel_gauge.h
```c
/* SPDX-License-Identifier: Apache-2.0 */
/** @file @brief Hardware-debug fuel-gauge communication and reading test. */

#ifndef EF800_HWDEBUG_FUEL_GAUGE_H
#define EF800_HWDEBUG_FUEL_GAUGE_H

/** @brief Read and report fuel-gauge voltage and state-of-charge values.
 * @return None; prints diagnostic results.
 */
void hwdebug_fuel_gauge_test(void);

#endif
```

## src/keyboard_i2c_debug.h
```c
/* SPDX-License-Identifier: Apache-2.0 */
/** @file @brief Inspect and test the keyboard I2C updater interface. */
#ifndef EF800_HWDEBUG_KEYBOARD_I2C_DEBUG_H_
#define EF800_HWDEBUG_KEYBOARD_I2C_DEBUG_H_

/** @brief Report keyboard updater I2C device readiness and status.
 * @return None.
 */
void hwdebug_keyboard_i2c_status(void);

/** @brief Run the keyboard updater ROM identification transaction.
 * @return None; prints identification and test result.
 */
void hwdebug_keyboard_i2c_rom_test(void);

#endif /* EF800_HWDEBUG_KEYBOARD_I2C_DEBUG_H_ */
```

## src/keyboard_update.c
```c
/* SPDX-License-Identifier: Apache-2.0 */

#include <errno.h>
#include <stdint.h>
#include <string.h>

#include <zephyr/device.h>
#include <zephyr/drivers/uart.h>
#include <zephyr/fs/fs.h>
#include <zephyr/kernel.h>
#include <zephyr/sys/util.h>

#include <stm32l4xx.h>

#include "flash.h"
#include "keyboard_protocol.h"
#include "peripheral_tests.h"
#include "ef800_keyboard_package.h"
#include "ef800_update.h"

#define KB_UPDATE_PATH_MAX 64U
#define KB_UPDATE_MAX_SIZE (256U * 1024U)
#define KB_UPDATE_CHUNK 128U
#define KB_UPDATE_TIMEOUT_MS 1500U
#define KB_ROM_ACK 0x79U
#define KB_ROM_NACK 0x1FU
#define KB_ROM_GET_ID 0x02U
#define KB_ROM_EXTENDED_ERASE 0x44U
#define KB_ROM_WRITE_MEMORY 0x31U
#define KB_ROM_GO 0x21U
#define KB_ROM_ADDRESS 0x08000000U
#define KB_ROM_DEVICE_ID 0x0435U
#define KB_RX_MAGIC 0x424B4645U
#define KB_RX_PATH "/DATA:/fwu/EF800_KEYBOARD.pkg"
#define KB_PACKAGE_MAX_SIZE (EF800_KEYBOARD_PACKAGE_HEADER_SIZE + \
	EF800_KEYBOARD_PACKAGE_LIMIT)

static const struct device *const update_uart = DEVICE_DT_GET(DT_NODELABEL(lpuart1));
static const struct device *const console_uart = DEVICE_DT_GET(DT_CHOSEN(zephyr_console));

static int configure_update_uart(uint32_t baudrate)
{
	const struct uart_config config = {
		.baudrate = baudrate,
		.parity = UART_CFG_PARITY_NONE,
		.stop_bits = UART_CFG_STOP_BITS_1,
		.data_bits = UART_CFG_DATA_BITS_8,
		.flow_ctrl = UART_CFG_FLOW_CTRL_NONE,
	};

	return uart_configure(update_uart, &config);
}

static uint32_t crc32_update(uint32_t crc, const uint8_t *data, size_t length)
{
	for (size_t i = 0U; i < length; ++i) {
		crc ^= data[i];
		for (unsigned int bit = 0U; bit < 8U; ++bit) {
			crc = (crc >> 1) ^ (0xEDB88320U & -(crc & 1U));
		}
	}
	return crc;
}

static int receive_console_byte(uint8_t *value, uint32_t timeout_ms)
{
	uint64_t deadline = k_uptime_get() + timeout_ms;

	while (k_uptime_get() < deadline) {
		if (uart_poll_in(console_uart, value) == 0) {
			return 0;
		}
		k_msleep(1U);
	}
	return -ETIMEDOUT;
}

static int receive_console_u32(uint32_t *value)
{
	uint8_t bytes[4];

	for (size_t i = 0U; i < sizeof(bytes); ++i) {
		if (receive_console_byte(&bytes[i], 3000U) != 0) {
			return -ETIMEDOUT;
		}
	}
	*value = (uint32_t)bytes[0] | ((uint32_t)bytes[1] << 8) |
		((uint32_t)bytes[2] << 16) | ((uint32_t)bytes[3] << 24);
	return 0;
}

static int receive_console_magic(void)
{
	static const uint8_t magic[] = { 0x45U, 0x46U, 0x4BU, 0x42U };
	uint8_t byte;
	size_t matched = 0U;

	while (matched < sizeof(magic)) {
		if (receive_console_byte(&byte, 3000U) != 0) {
			return -ETIMEDOUT;
		}
		if (byte == magic[matched]) {
			++matched;
		} else {
			matched = byte == magic[0] ? 1U : 0U;
		}
	}
	return 0;
}

static int validate_keyboard_package(void)
{
	struct fs_file_t file;
	struct ef800_keyboard_package_header header;
	struct fs_dirent entry;
	uint8_t buffer[256];
	uint32_t crc = 0U;
	uint32_t remaining;
	int ret;

	ret = fs_stat(KB_RX_PATH, &entry);
	if (ret != 0 || entry.type != FS_DIR_ENTRY_FILE ||
		entry.size < EF800_KEYBOARD_PACKAGE_HEADER_SIZE) {
		return -EINVAL;
	}
	fs_file_t_init(&file);
	ret = fs_open(&file, KB_RX_PATH, FS_O_READ);
	if (ret != 0) {
		return ret;
	}
	ret = fs_read(&file, &header, sizeof(header)) == sizeof(header) &&
		ef800_keyboard_package_valid(&header, entry.size) ? 0 : -EINVAL;
	if (ret == 0) {
		remaining = header.image_size;
		while (remaining != 0U) {
			size_t count = MIN(sizeof(buffer), remaining);
			if (fs_read(&file, buffer, count) != (ssize_t)count) {
				ret = -EIO;
				break;
			}
			crc = ef800_crc32_update(crc, buffer, count);
			remaining -= count;
		}
		if (ret == 0 && crc != header.image_crc32) {
			ret = -EBADMSG;
		}
	}
	(void)fs_close(&file);
	if (ret == 0) {
		hwdebug_console_printf("\r\nkeyboard receive: package valid version=%u.%u.%u "
			"target=0x%04x size=%u\r\n", header.version_major,
			header.version_minor, header.version_patch, header.target_id,
			(unsigned int)header.image_size);
	}
	return ret;
}

void hwdebug_keyboard_receive(void)
{
	struct fs_file_t file;
	uint8_t buffer[256];
	uint32_t size, expected_crc;
	uint32_t crc = 0xFFFFFFFFU;
	uint8_t reserved[4];
	size_t received = 0U;
	int ret;

	if (!device_is_ready(console_uart)) {
		return;
	}
	ret = hwdebug_storage_prepare_update();
	if (ret != 0) {
		hwdebug_console_printf("keyboard receive: storage unavailable=%d\r\n", ret);
		return;
	}
	/* The command parser has consumed the line ending; switch COM7 to binary. */
	uart_irq_rx_disable(console_uart);
	uint8_t stale;
	while (uart_poll_in(console_uart, &stale) == 0) {
	}
	hwdebug_console_puts("keyboard receive: ready\r\n");
	if (receive_console_magic() != 0) {
		hwdebug_console_puts("keyboard receive: magic timeout\r\n");
		goto done;
	}
	uart_poll_out(console_uart, 'M');
	if (receive_console_u32(&size) != 0 ||
		receive_console_u32(&expected_crc) != 0) {
		hwdebug_console_puts("keyboard receive: metadata timeout\r\n");
		goto done;
	}
	for (size_t i = 0U; i < sizeof(reserved); ++i) {
		if (receive_console_byte(&reserved[i], 3000U) != 0) goto done;
	}
	if (size == 0U || size > KB_PACKAGE_MAX_SIZE) {
		hwdebug_console_puts("keyboard receive: invalid size\r\n");
		goto done;
	}
	fs_file_t_init(&file);
	(void)fs_mkdir("/DATA:/fwu");
	ret = fs_open(&file, KB_RX_PATH, FS_O_CREATE | FS_O_WRITE | FS_O_TRUNC);
	if (ret != 0) {
		hwdebug_console_printf("keyboard receive: open failed=%d\r\n", ret);
		goto done;
	}
	uart_poll_out(console_uart, 'R');
	while (received < size) {
		size_t length = MIN(sizeof(buffer), size - received);
		for (size_t i = 0U; i < length; ++i) {
			if (receive_console_byte(&buffer[i], 3000U) != 0) {
				(void)fs_close(&file);
				goto done;
			}
		}
		if (fs_write(&file, buffer, length) != (ssize_t)length) {
			(void)fs_close(&file);
			goto done;
		}
		crc = crc32_update(crc, buffer, length);
		received += length;
	}
	(void)fs_close(&file);
	crc ^= 0xFFFFFFFFU;
	if (crc != expected_crc) {
		uart_poll_out(console_uart, 'E');
		hwdebug_console_printf("\r\nkeyboard receive: CRC failed size=%u\r\n",
			(unsigned int)size);
		goto done;
	}
	ret = validate_keyboard_package();
	uart_poll_out(console_uart, ret == 0 ? 'K' : 'E');
	if (ret != 0) {
		hwdebug_console_printf("\r\nkeyboard receive: package validation failed=%d; "
			"file retained\r\n", ret);
	} else {
		hwdebug_console_printf("keyboard receive: package upload successful "
			"size=%u\r\n", (unsigned int)size);
	}
done:
	uart_irq_rx_enable(console_uart);
}

static uint8_t xor_bytes(const uint8_t *data, size_t length)
{
	uint8_t checksum = 0U;

	for (size_t index = 0U; index < length; ++index) {
		checksum ^= data[index];
	}
	return checksum;
}

static int read_byte(uint8_t *value, uint32_t timeout_ms)
{
	uint64_t deadline = k_uptime_get() + timeout_ms;

	while (k_uptime_get() < deadline) {
		if (uart_poll_in(update_uart, value) == 0) {
			return 0;
		}
		k_msleep(1U);
	}
	return -ETIMEDOUT;
}

static int expect_ack(const char *step)
{
	uint8_t response;
	int ret = read_byte(&response, KB_UPDATE_TIMEOUT_MS);

	if (ret != 0) {
		hwdebug_console_printf("keyboard update: %s timeout\r\n", step);
		return ret;
	}
	if (response != KB_ROM_ACK) {
		hwdebug_console_printf("keyboard update: %s response=0x%02x\r\n",
			step, response);
		return response == KB_ROM_NACK ? -EIO : -EPROTO;
	}
	return 0;
}

static int send_command(uint8_t command, const char *step)
{
	uint8_t frame[] = { command, (uint8_t)~command };

	uart_poll_out(update_uart, frame[0]);
	uart_poll_out(update_uart, frame[1]);
	return expect_ack(step);
}

static int send_address(uint32_t address)
{
	uint8_t frame[5] = {
		(uint8_t)(address >> 24), (uint8_t)(address >> 16),
		(uint8_t)(address >> 8), (uint8_t)address, 0U,
	};

	frame[4] = xor_bytes(frame, 4U);
	for (size_t index = 0U; index < sizeof(frame); ++index) {
		uart_poll_out(update_uart, frame[index]);
	}
	return expect_ack("address");
}

static int keyboard_rom_enter(void)
{
	static const uint8_t application_ack[] = {
		CMD_RETURN, CMD_KEYBOARD_BOOTLOADER, CMD_ACK,
	};
	uint8_t byte;
	int ret;

	if (!device_is_ready(update_uart)) {
		return -ENODEV;
	}
	while (uart_poll_in(update_uart, &byte) == 0) {
	}
	if (configure_update_uart(KB_UART_BAUDRATE) != 0) {
		return -EIO;
	}
	uart_poll_out(update_uart, CMD_KEYBOARD_BAUDRATE);
	uart_poll_out(update_uart, KB_BAUD_SELECTOR_9600);
	k_msleep(20U);
	if (configure_update_uart(KB_UART_BAUDRATE) != 0) {
		return -EIO;
	}
	uart_poll_out(update_uart, CMD_KEYBOARD_BOOTLOADER);
	k_msleep(2U);
	for (size_t index = 0U; index < sizeof(application_ack); ++index) {
		ret = read_byte(&byte, KB_UPDATE_TIMEOUT_MS);
		if (ret != 0 || byte != application_ack[index]) {
			return ret != 0 ? ret : -EPROTO;
		}
	}
	k_msleep(50U);
	uart_poll_out(update_uart, 0x7FU);
	return expect_ack("sync");
}

void hwdebug_keyboard_bootloader_probe(void)
{
	uint8_t byte;
	int ret;

	if (!device_is_ready(update_uart)) {
		hwdebug_console_puts("keyboard bootloader: UART unavailable\r\n");
		return;
	}
	ret = configure_update_uart(KB_UART_BAUDRATE);
	if (ret == 0) {
		ret = keyboard_rom_enter();
	}
	if (ret == 0) {
		hwdebug_console_puts("keyboard bootloader: sync ACK at 115200\r\n");
		return;
	}

	/* Re-enter the application before trying the alternate baud rate. */
	hwdebug_console_printf("keyboard bootloader: 115200 failed=%d; retrying 9600\r\n", ret);
	(void)configure_update_uart(KB_UART_BAUDRATE);
	while (uart_poll_in(update_uart, &byte) == 0) {
	}
	uart_poll_out(update_uart, CMD_KEYBOARD_BOOTLOADER);
	for (size_t index = 0U; index < 3U; ++index) {
		if (read_byte(&byte, KB_UPDATE_TIMEOUT_MS) != 0) {
			hwdebug_console_puts("keyboard bootloader: application ACK timeout at 9600\r\n");
			return;
		}
	}
	k_msleep(50U);
	uart_poll_out(update_uart, 0x7FU);
	ret = expect_ack("sync-9600");
	hwdebug_console_printf("keyboard bootloader: 9600 result=%d\r\n", ret);
}

static int keyboard_rom_get_id(void)
{
	uint8_t count;
	uint8_t id[2];
	int ret = send_command(KB_ROM_GET_ID, "GET_ID");

	if (ret != 0) {
		return ret;
	}
	ret = read_byte(&count, KB_UPDATE_TIMEOUT_MS);
	if (ret != 0 || count != 1U) {
		return ret != 0 ? ret : -EPROTO;
	}
	ret = read_byte(&id[0], KB_UPDATE_TIMEOUT_MS);
	if (ret == 0) ret = read_byte(&id[1], KB_UPDATE_TIMEOUT_MS);
	if (ret == 0) ret = read_byte(&count, KB_UPDATE_TIMEOUT_MS);
	if (ret != 0) {
		return ret;
	}
	hwdebug_console_printf("keyboard update: device id=0x%02x%02x\r\n",
		id[0], id[1]);
	return ((uint16_t)id[0] << 8 | id[1]) == KB_ROM_DEVICE_ID ? 0 : -ENODEV;
}

static int keyboard_rom_erase(void)
{
	uint8_t frame[2 + 2 + 128 * 2 + 1];
	uint8_t *cursor = frame;

	*cursor++ = 0U;
	*cursor++ = 127U;
	for (uint16_t page = 0U; page < 128U; ++page) {
		*cursor++ = (uint8_t)(page >> 8);
		*cursor++ = (uint8_t)page;
	}
	*cursor = xor_bytes(frame, (size_t)(cursor - frame));
	for (size_t index = 0U; index <= (size_t)(cursor - frame); ++index) {
		uart_poll_out(update_uart, frame[index]);
	}
	return expect_ack("erase");
}

static int keyboard_rom_write(struct fs_file_t *file, size_t size)
{
	uint8_t frame[KB_UPDATE_CHUNK + 2U];

	for (size_t offset = 0U; offset < size; offset += KB_UPDATE_CHUNK) {
		size_t length = MIN(KB_UPDATE_CHUNK, size - offset);
		size_t padded = ROUND_UP(length, 8U);
		memset(frame + 1U, 0xFF, KB_UPDATE_CHUNK);
		ssize_t read = fs_read(file, frame + 1U, length);

		if (read != (ssize_t)length) {
			return -EIO;
		}
		frame[0] = (uint8_t)(padded - 1U);
		frame[padded + 1U] = xor_bytes(frame, padded + 1U);
		if (send_command(KB_ROM_WRITE_MEMORY, "WRITE_MEMORY") != 0 ||
			send_address(KB_ROM_ADDRESS + (uint32_t)offset) != 0) {
			return -EIO;
		}
		for (size_t index = 0U; index <= padded + 1U; ++index) {
			uart_poll_out(update_uart, frame[index]);
		}
		if (expect_ack("write") != 0) {
			return -EIO;
		}
	}
	return 0;
}

void hwdebug_keyboard_update(const char *path)
{
	uint8_t header[8];
	struct fs_dirent stat;
	struct fs_file_t file;
	size_t size;
	ssize_t read;
	int ret;

	if (path == NULL || strlen(path) >= KB_UPDATE_PATH_MAX) {
		hwdebug_console_puts("keyboard update: invalid path\r\n");
		return;
	}
	ret = hwdebug_storage_prepare_update();
	if (ret != 0) {
		hwdebug_console_printf("keyboard update: storage unavailable=%d\r\n", ret);
		return;
	}
	fs_file_t_init(&file);
	ret = fs_open(&file, path, FS_O_READ);
	if (ret != 0) {
		hwdebug_console_printf("keyboard update: open failed=%d\r\n", ret);
		return;
	}
	ret = fs_stat(path, &stat);
	if (ret != 0 || stat.size <= 0 || stat.size > KB_UPDATE_MAX_SIZE) {
		(void)fs_close(&file);
		hwdebug_console_puts("keyboard update: invalid image size\r\n");
		return;
	}
	size = (size_t)stat.size;
	read = fs_read(&file, header, sizeof(header));
	if (read != sizeof(header) || (header[0] & 3U) != 0U ||
		header[1] != 0x00U || header[2] != 0x00U || header[3] < 0x20U ||
		header[4] < 0x01U || fs_seek(&file, 0, FS_SEEK_SET) != 0) {
		(void)fs_close(&file);
		hwdebug_console_puts("keyboard update: invalid raw image\r\n");
		return;
	}
	hwdebug_console_printf("keyboard update: image size=%u\r\n", (unsigned int)size);
	ret = keyboard_rom_enter();
	if (ret == 0) ret = keyboard_rom_get_id();
	if (ret == 0) ret = keyboard_rom_erase();
	if (ret == 0) ret = keyboard_rom_write(&file, size);
	(void)fs_close(&file);
	if (ret == 0) {
		hwdebug_console_puts("keyboard update: complete; resetting keyboard\r\n");
		NVIC_SystemReset();
	} else {
		hwdebug_console_printf("keyboard update: failed=%d\r\n", ret);
	}
}
```

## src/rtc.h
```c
/* SPDX-License-Identifier: Apache-2.0 */
/** @file @brief Hardware-debug RTC read/write and behavior diagnostics. */

#ifndef EF800_HWDEBUG_RTC_H
#define EF800_HWDEBUG_RTC_H

/** @brief Exercise RTC reads, writes, and calendar handling.
 * @return None; prints diagnostic results.
 */
void hwdebug_rtc_test(void);

#endif
```
